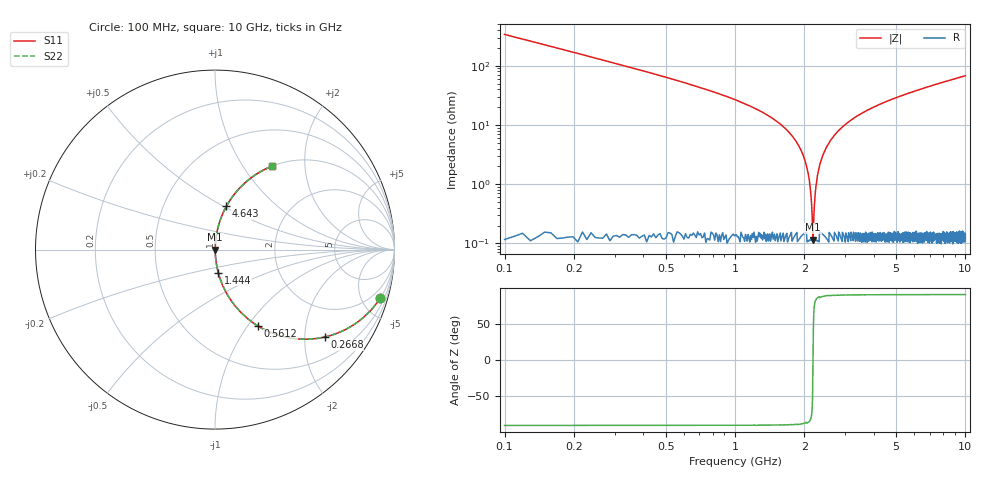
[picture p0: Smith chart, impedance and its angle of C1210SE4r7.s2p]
! AVX Thin Film Operation		Date: April 2012
! Description: Accu-P® Series, Thin Film, SMD, RF Capacitor
! Part Number: 12101J4R7ABTTR
!	100	MHz	-	10.05	GHz
!	Serial	Measurements
#	MHZ	S	MA	R	50
!	S11	S21	S12	S22
!	dB	Phase	dB	Phase	dB	Phase	dB	Phase
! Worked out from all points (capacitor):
!   1010 points, 100 MHz to 10 GHz, reference 50 ohm
!   read as one part in series: C = 4.7 pF near 149.1 MHz
!   lowest |Z| = 115 mohm at 2.18 GHz (marker M1)
!   series resonance near 2.181 GHz, so ESL is about 1.1 nH
!   S11 on the Smith chart (normalised r, x): 100 MHz: 1.00, -6.76; 266.8 MHz: 1.00, -2.50; 561.1 MHz: 1.00, -1.13; 1.444 GHz: 1.00, -0.26; 4.643 GHz: 1.00, +0.51; 10 GHz: 1.00, +1.36
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100  0.959 -16.5  0.284 73.5  0.284 73.5  0.959 -16.5
266.799  0.781 -38.6  0.624 51.3  0.624 51.3  0.781 -38.6
561.15  0.49 -60.5  0.87 29.4  0.87 29.4  0.49 -60.5
894.747  0.3 -72.3  0.953 17.4  0.953 17.4  0.3 -72.3
1444.202  0.13 -81.9  0.99 7.5  0.99 7.5  0.13 -81.9
1758.176  0.067 -85.0  0.996 3.9  0.996 3.9  0.067 -85.0
1924.975  0.039 -85.9  0.998 2.2  0.998 2.2  0.039 -85.9
2023.092  0.023 -85.5  0.998 1.3  0.998 1.3  0.023 -85.5
2081.962  0.014 -84.0  0.999 0.8  0.999 0.8  0.014 -84.0
2150.644  0.00451 -73.0  0.999 0.2  0.999 0.2  0.00451 -73.0
2180.079  0.0013 -4.6  0.999 0.0  0.999 0.0  0.0013 -4.6
2209.514  0.00426 72.0  0.999 -0.2  0.999 -0.2  0.00426 72.0
2258.573  0.011 82.6  0.999 -0.6  0.999 -0.6  0.011 82.6
2307.631  0.018 84.8  0.999 -1.0  0.999 -1.0  0.018 84.8
2494.054  0.042 85.8  0.998 -2.4  0.998 -2.4  0.042 85.8
2847.275  0.083 84.3  0.995 -4.8  0.995 -4.8  0.083 84.3
3406.541  0.142 81.3  0.989 -8.1  0.989 -8.1  0.142 81.3
4642.815  0.249 75.3  0.967 -14.4  0.967 -14.4  0.249 75.3
5054.906  0.281 73.4  0.959 -16.3  0.959 -16.3  0.281 73.4
6703.271  0.392 66.7  0.919 -23.1  0.919 -23.1  0.392 66.7
8351.635  0.484 60.9  0.874 -29.0  0.874 -29.0  0.484 60.9
10000  0.561 55.8  0.827 -34.1  0.827 -34.1  0.561 55.8
